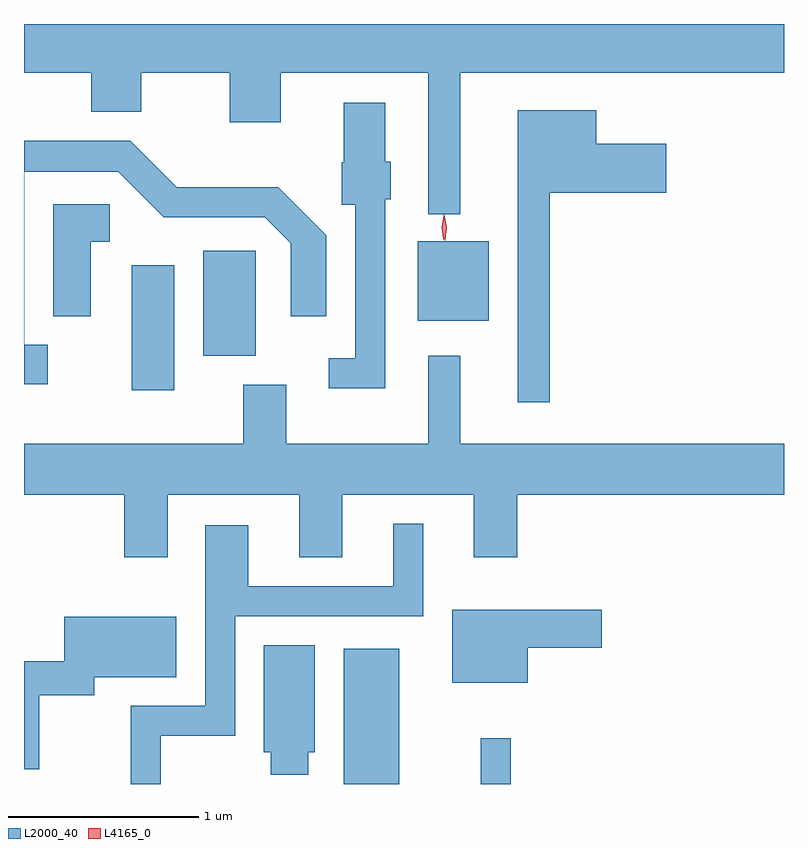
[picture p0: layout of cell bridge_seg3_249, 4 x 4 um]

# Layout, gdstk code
import gdstk
lib = gdstk.Library(unit=1e-6, precision=1e-09)
def R(c, l, rs):  # rectangles x0, y0, x1, y1
    for r in rs: c.add(gdstk.rectangle(r[:2], r[2:], *l))
def P(c, l, *ps):  # polygons
    for p in ps: c.add(gdstk.Polygon(p, *l))
L2000_40 = (2000, 40)
L4165_0 = (4165, 0)

bridge_seg3_249 = lib.new_cell('bridge_seg3_249')
R(bridge_seg3_249, L2000_40, [(964.156,1120.053,964.449,1120.764), (964.876,1120.053,965.034,1120.293), (963.041,1122.126,963.264,1122.784), (963.416,1122.306,963.694,1122.859), (964.546,1122.491,964.919,1122.909)])
P(bridge_seg3_249, L2000_40, [(964.769,1123.796),(966.473,1123.796),(966.473,1124.053),(962.473,1124.053),(962.473,1123.796),(962.826,1123.796),(962.826,1123.591),(963.089,1123.591),(963.089,1123.796),(963.556,1123.796),(963.556,1123.536),(963.824,1123.536),(963.824,1123.796),(964.601,1123.796),(964.601,1123.053),(964.769,1123.053)],
  [(964.374,1123.131),(964.404,1123.131),(964.404,1123.329),(964.374,1123.329),(964.374,1123.639),(964.156,1123.639),(964.156,1123.325),(964.146,1123.325),(964.146,1123.101),(964.216,1123.101),(964.216,1122.294),(964.078,1122.294),(964.078,1122.136),(964.374,1122.136)],
  [(965.239,1123.166),(965.854,1123.166),(965.854,1123.424),(965.484,1123.424),(965.484,1123.599),(965.071,1123.599),(965.071,1122.063),(965.239,1122.063)],
  [(962.599,1122.364),(962.474,1122.364),(962.474,1123.276),(962.969,1123.276),(963.209,1123.036),(963.739,1123.036),(963.876,1122.899),(963.876,1122.516),(964.064,1122.516),(964.064,1122.942),(963.812,1123.194),(963.277,1123.194),(963.032,1123.439),(962.473,1123.439),(962.473,1122.156),(962.599,1122.156)],
  [(962.824,1122.906),(962.924,1122.906),(962.924,1123.104),(962.626,1123.104),(962.626,1122.516),(962.824,1122.516)],
  [(964.841,1121.246),(965.069,1121.246),(965.069,1121.576),(966.473,1121.576),(966.473,1121.844),(964.769,1121.844),(964.769,1122.308),(964.601,1122.308),(964.601,1121.844),(963.854,1121.844),(963.854,1122.154),(963.626,1122.154),(963.626,1121.844),(962.473,1121.844),(962.473,1121.576),(963.001,1121.576),(963.001,1121.246),(963.229,1121.246),(963.229,1121.576),(963.921,1121.576),(963.921,1121.246),(964.149,1121.246),(964.149,1121.576),(964.841,1121.576)],
  [(963.194,1120.306),(963.584,1120.306),(963.584,1120.936),(964.574,1120.936),(964.574,1121.423),(964.416,1121.423),(964.416,1121.094),(963.654,1121.094),(963.654,1121.414),(963.426,1121.414),(963.426,1120.464),(963.036,1120.464),(963.036,1120.053),(963.194,1120.053)],
  [(965.124,1120.771),(965.514,1120.771),(965.514,1120.969),(964.726,1120.969),(964.726,1120.586),(965.124,1120.586)],
  [(962.554,1120.521),(962.844,1120.521),(962.844,1120.616),(963.274,1120.616),(963.274,1120.934),(962.686,1120.934),(962.686,1120.699),(962.473,1120.699),(962.473,1120.131),(962.554,1120.131)],
  [(963.969,1120.221),(964.004,1120.221),(964.004,1120.784),(963.736,1120.784),(963.736,1120.221),(963.771,1120.221),(963.771,1120.101),(963.969,1120.101)])
P(bridge_seg3_249, L4165_0, [(964.681,1122.918),(964.68,1122.919),(964.671,1122.983),(964.681,1123.047),(964.681,1123.047),(964.682,1123.047),(964.691,1122.983),(964.681,1122.919)],
  [(964.688,1122.914),(964.688,1122.914),(964.677,1122.982),(964.684,1123.05),(964.685,1123.05),(964.685,1123.05),(964.697,1122.982),(964.689,1122.914)])

lib.write_gds('bridge_seg3_249.gds')
